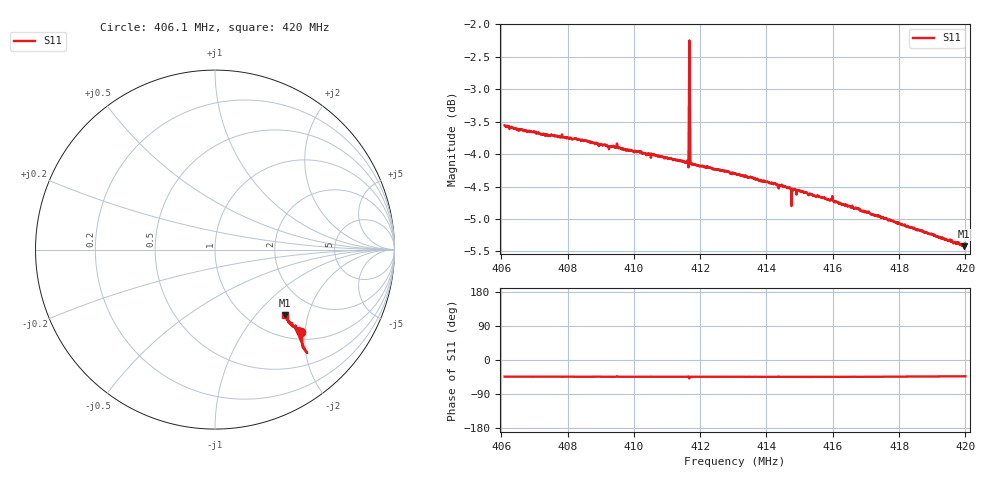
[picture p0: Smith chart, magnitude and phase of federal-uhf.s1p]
! Calibrated averaged scanner-service zoom
# Hz S RI R 50
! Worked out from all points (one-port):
!   2001 points, 406.1 MHz to 420 MHz, reference 50 ohm
!   lowest |S11| = -5.4 dB at 419.97 MHz (marker M1), VSWR 3.31, Z = 70.7 - j72.6 ohm
!   |S11| at or under -10 dB: nowhere
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4.061e8  0.4781 -0.461
4.073927e8  0.4717 -0.4519
4.078375e8  0.4675 -0.4521
4.085394e8  0.4633 -0.4507
4.089912e8  0.4606 -0.4475
4.093874e8  0.4557 -0.4495
4.09443e8  0.4571 -0.4451
4.095264e8  0.4574 -0.4447
4.09575e8  0.4575 -0.4446
4.113125e8  0.4472 -0.4356
4.115766e8  0.4453 -0.4335
4.115905e8  0.4457 -0.4335
4.116114e8  0.446 -0.4349
4.116252e8  0.4461 -0.4334
4.117226e8  0.4439 -0.4325
4.117364e8  0.4445 -0.4328
4.117573e8  0.4434 -0.4327
4.117642e8  0.4443 -0.4328
4.117782e8  0.4439 -0.4319
4.1305e8  0.4359 -0.4259
4.145164e8  0.4256 -0.4173
4.147875e8  0.4236 -0.415
4.158508e8  0.416 -0.408
4.159412e8  0.4151 -0.4073
4.16525e8  0.4113 -0.4015
4.182625e8  0.4002 -0.3843
4.199652e8  0.3915 -0.366
4.2e8  0.3922 -0.3655
